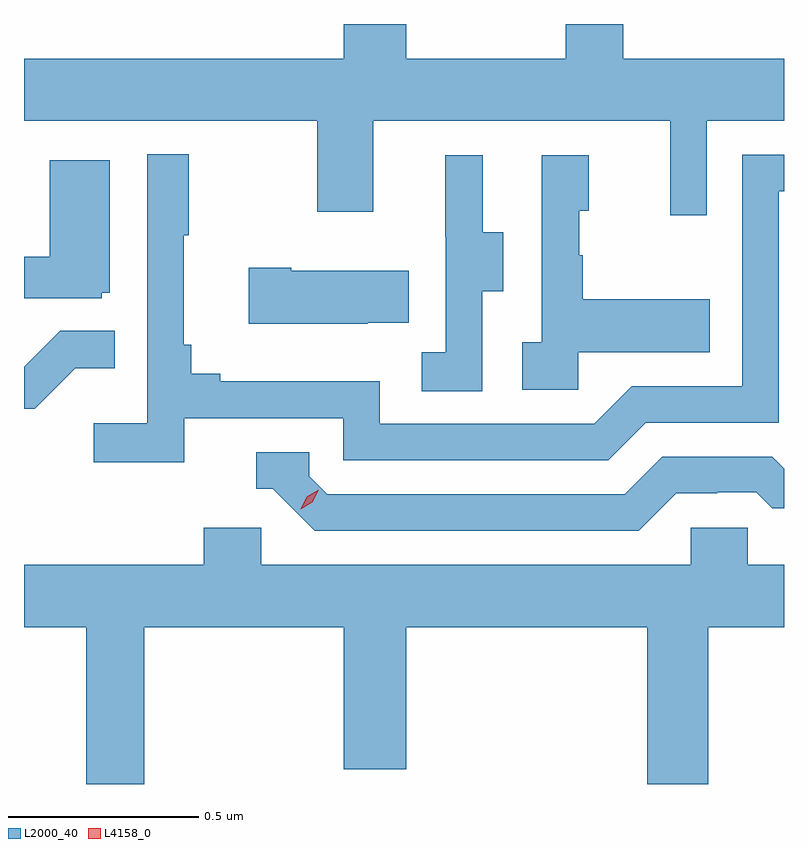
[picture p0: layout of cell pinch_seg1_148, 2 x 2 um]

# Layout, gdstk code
import gdstk
lib = gdstk.Library(unit=1e-6, precision=1e-09)
def P(c, l, *ps):  # polygons
    for p in ps: c.add(gdstk.Polygon(p, *l))
L2000_40 = (2000, 40)
L4158_0 = (4158, 0)

pinch_seg1_148 = lib.new_cell('pinch_seg1_148')
P(pinch_seg1_148, L2000_40, [(1136.991,553.064),(1137.194,553.064),(1137.194,553.228),(1136.771,553.228),(1136.771,553.319),(1136.62,553.319),(1136.62,553.228),(1136.2,553.228),(1136.2,553.319),(1136.036,553.319),(1136.036,553.228),(1135.194,553.228),(1135.194,553.064),(1135.966,553.064),(1135.966,552.825),(1136.113,552.825),(1136.113,553.064),(1136.894,553.064),(1136.894,552.816),(1136.991,552.816)],
  [(1135.616,552.282),(1136.034,552.282),(1136.034,552.171),(1136.731,552.171),(1136.83,552.27),(1137.18,552.27),(1137.18,552.879),(1137.194,552.879),(1137.194,552.975),(1137.084,552.975),(1137.084,552.366),(1136.793,552.366),(1136.694,552.267),(1136.13,552.267),(1136.13,552.379),(1135.711,552.379),(1135.711,552.398),(1135.634,552.398),(1135.634,552.475),(1135.615,552.475),(1135.615,552.763),(1135.627,552.763),(1135.627,552.976),(1135.518,552.976),(1135.518,552.268),(1135.377,552.268),(1135.377,552.166),(1135.616,552.166)],
  [(1136.4,552.616),(1136.455,552.616),(1136.455,552.771),(1136.401,552.771),(1136.401,552.973),(1136.303,552.973),(1136.303,552.759),(1136.304,552.759),(1136.304,552.455),(1136.241,552.455),(1136.241,552.352),(1136.4,552.352)],
  [(1136.652,552.455),(1136.999,552.455),(1136.999,552.595),(1136.665,552.595),(1136.665,552.71),(1136.655,552.71),(1136.655,552.828),(1136.68,552.828),(1136.68,552.973),(1136.556,552.973),(1136.556,552.482),(1136.505,552.482),(1136.505,552.357),(1136.652,552.357)],
  [(1135.398,552.612),(1135.42,552.612),(1135.42,552.961),(1135.262,552.961),(1135.262,552.706),(1135.194,552.706),(1135.194,552.597),(1135.398,552.597)],
  [(1136.099,552.533),(1136.207,552.533),(1136.207,552.67),(1135.897,552.67),(1135.897,552.678),(1135.785,552.678),(1135.785,552.53),(1136.099,552.53)],
  [(1135.329,552.413),(1135.433,552.413),(1135.433,552.512),(1135.289,552.512),(1135.194,552.417),(1135.194,552.306),(1135.222,552.306)],
  [(1136.911,552.084),(1137.018,552.084),(1137.018,552.087),(1137.121,552.087),(1137.163,552.045),(1137.194,552.045),(1137.194,552.149),(1137.163,552.18),(1136.874,552.18),(1136.775,552.081),(1135.992,552.081),(1135.944,552.129),(1135.944,552.192),(1135.805,552.192),(1135.805,552.096),(1135.848,552.096),(1135.959,551.985),(1136.812,551.985)],
  [(1135.511,551.732),(1136.036,551.732),(1136.036,551.358),(1136.2,551.358),(1136.2,551.732),(1136.834,551.732),(1136.834,551.319),(1136.994,551.319),(1136.994,551.732),(1137.194,551.732),(1137.194,551.896),(1137.099,551.896),(1137.099,551.994),(1136.949,551.994),(1136.949,551.896),(1135.818,551.896),(1135.818,551.994),(1135.667,551.994),(1135.667,551.896),(1135.194,551.896),(1135.194,551.732),(1135.358,551.732),(1135.358,551.319),(1135.511,551.319)])
P(pinch_seg1_148, L4158_0, [(1135.922,552.042),(1135.922,552.042),(1135.938,552.075),(1135.969,552.094),(1135.97,552.094),(1135.97,552.094),(1135.953,552.061),(1135.922,552.042)])

lib.write_gds('pinch_seg1_148.gds')
